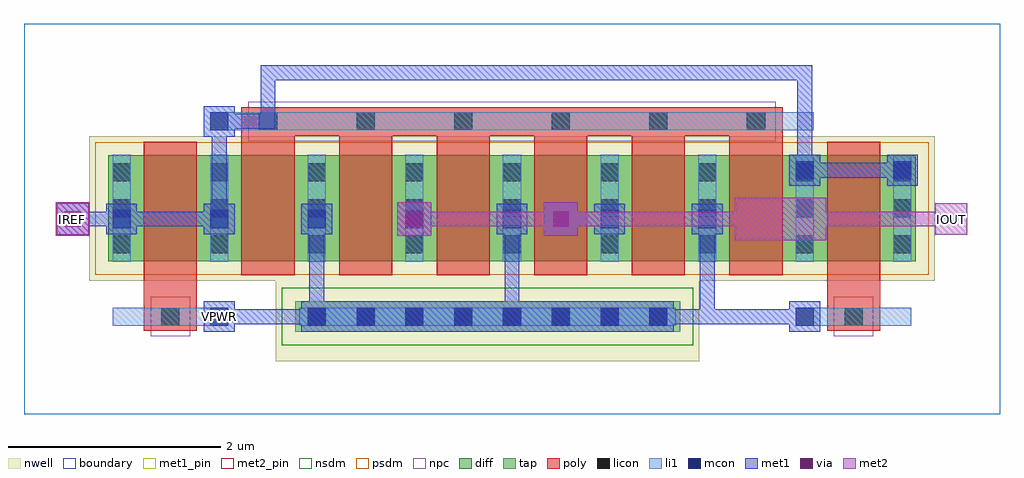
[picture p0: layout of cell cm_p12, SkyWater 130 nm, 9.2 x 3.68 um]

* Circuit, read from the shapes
.subckt cm_p12 IOUT IREF VPWR
XM1 IREF VPWR IREF VPWR sky130_fd_pr__pfet_01v8 w=1 l=0.5 m=2
XM2 VPWR IREF IREF VPWR sky130_fd_pr__pfet_01v8 w=1 l=0.5 m=2
XM3 IOUT IREF VPWR VPWR sky130_fd_pr__pfet_01v8 w=1 l=0.5 m=4
.ends

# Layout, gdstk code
import gdstk
lib = gdstk.Library(unit=1e-6, precision=1e-09)
def R(c, l, rs):  # rectangles x0, y0, x1, y1
    for r in rs: c.add(gdstk.rectangle(r[:2], r[2:], *l))
def A(c, l, x, y, w, h, nx, ny, dx, dy):  # array of equal rectangles
    R(c, l, [(x+i*dx, y+j*dy, x+i*dx+w, y+j*dy+h) for i in range(nx) for j in range(ny)])
nwell = (64, 20)
diff = (65, 20)
tap = (65, 44)
poly = (66, 20)
licon = (66, 44)
li1 = (67, 20)
mcon = (67, 44)
met1_pin = (68, 16)
met1 = (68, 20)
via = (68, 44)
met2_pin = (69, 16)
met2 = (69, 20)
nsdm = (93, 44)
psdm = (94, 20)
npc = (95, 20)
boundary = (235, 4)

cm_p12 = lib.new_cell('cm_p12')
R(cm_p12, nwell, [(2.375,0.5,6.365,1.26), (0.615,1.26,8.585,2.62)])
R(cm_p12, diff, [(0.795,1.44,8.405,2.44)])
R(cm_p12, tap, [(2.555,0.775,6.185,1.065)])
A(cm_p12, poly, 2.05, 1.31, 0.5, 1.45, 6, 1, 0.92, 0)
R(cm_p12, poly, [(1.13,0.785,1.63,1.055), (7.57,0.785,8.07,1.055), (1.13,0.92,1.63,2.57), (7.57,0.92,8.07,2.57), (2.05,2.625,7.15,2.895)])
A(cm_p12, licon, 2.675, 0.835, 0.17, 0.17, 8, 1, 0.46, 0)
A(cm_p12, licon, 0.835, 1.515, 0.17, 0.17, 9, 3, 0.92, 0.34)
A(cm_p12, licon, 2.215, 2.675, 0.17, 0.17, 6, 1, 0.92, 0)
R(cm_p12, licon, [(1.295,0.835,1.465,1.005), (7.735,0.835,7.905,1.005)])
A(cm_p12, li1, 0.835, 1.435, 0.17, 1.01, 9, 1, 0.92, 0)
R(cm_p12, li1, [(0.835,0.835,1.925,1.005), (2.595,0.835,6.145,1.005), (7.275,0.835,8.365,1.005), (1.755,2.675,7.445,2.845)])
A(cm_p12, mcon, 2.675, 0.835, 0.17, 0.17, 8, 1, 0.46, 0)
A(cm_p12, mcon, 0.835, 1.755, 0.17, 0.17, 7, 1, 0.92, 0)
R(cm_p12, mcon, [(1.755,0.835,1.925,1.005), (7.275,0.835,7.445,1.005), (7.275,2.215,7.445,2.385), (8.195,2.215,8.365,2.385), (1.755,2.675,1.925,2.845)])
R(cm_p12, met1_pin, [(1.695,0.775,1.985,1.065)])
A(cm_p12, met1, 2.69, 0.85, 0.14, 1.06, 3, 1, 1.84, 0)
A(cm_p12, met1, 0.775, 1.695, 0.29, 0.29, 7, 1, 0.92, 0)
R(cm_p12, met1, [(1.695,0.775,1.985,1.065), (2.615,0.775,6.125,1.065), (7.215,0.775,7.505,1.065), (1.77,0.85,2.83,0.99), (2.69,0.85,2.83,0.99), (2.69,0.85,4.67,0.99), (4.53,0.85,6.51,0.99), (6.37,0.85,7.43,0.99), (0.3,1.68,0.62,2), (3.52,1.68,3.84,2), (4.9,1.68,5.22,2), (0.39,1.77,0.99,1.91), (0.85,1.77,1.91,1.91), (1.77,1.77,1.91,2.83), (4.99,1.77,5.59,1.91), (7.215,2.155,7.505,2.445), (8.135,2.155,8.425,2.445), (7.29,2.23,8.35,2.37), (7.29,2.23,7.43,3.29), (1.695,2.615,1.985,2.905), (1.77,2.69,2.37,2.83), (2.23,2.69,2.37,3.29), (2.23,3.15,7.43,3.29)])
R(cm_p12, via, [(0.385,1.765,0.535,1.915), (3.605,1.765,3.755,1.915), (4.985,1.765,5.135,1.915)])
R(cm_p12, met2_pin, [(0.31,1.69,0.61,1.99), (8.59,1.69,8.89,1.99)])
R(cm_p12, met2, [(6.7,1.64,7.56,2.04), (0.3,1.68,0.62,2), (3.52,1.68,3.84,2), (4.9,1.68,5.22,2), (0.31,1.69,0.61,1.99), (8.59,1.69,8.89,1.99), (0.39,1.77,0.53,1.91), (3.61,1.77,5.13,1.91), (4.99,1.77,6.97,1.91), (7.29,1.77,8.81,1.91), (8.67,1.77,8.81,1.91)])
R(cm_p12, nsdm, [(2.43,0.65,6.31,1.19)])
R(cm_p12, psdm, [(0.67,1.315,8.53,2.565)])
R(cm_p12, npc, [(1.195,0.735,1.565,1.105), (7.635,0.735,8.005,1.105), (2.115,2.575,7.085,2.945)])
R(cm_p12, boundary, [(0,0,9.2,3.68)])
cm_p12.add(gdstk.Label('VPWR', (1.84,0.92), layer=68, texttype=5))
cm_p12.add(gdstk.Label('IREF', (0.46,1.84), layer=69, texttype=5))
cm_p12.add(gdstk.Label('IOUT', (8.74,1.84), layer=69, texttype=5))
cm_p12.add(gdstk.Label('VPWR', (1.84,0.92), layer=68, texttype=16))
cm_p12.add(gdstk.Label('IREF', (0.46,1.84), layer=69, texttype=16))
cm_p12.add(gdstk.Label('IOUT', (8.74,1.84), layer=69, texttype=16))

lib.write_gds('cm_p12.gds')
